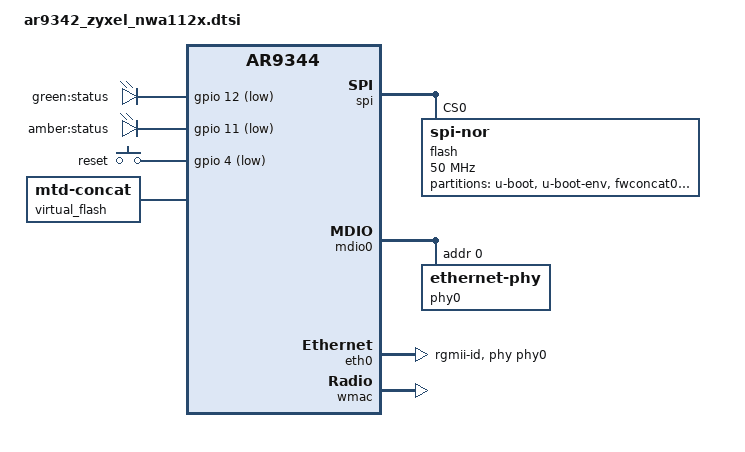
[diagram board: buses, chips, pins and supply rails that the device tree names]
// SPDX-License-Identifier: GPL-2.0-or-later OR MIT

#include "ar9344.dtsi"

#include <dt-bindings/gpio/gpio.h>
#include <dt-bindings/input/input.h>
#include <dt-bindings/mtd/partitions/uimage.h>

/ {
	aliases {
		label-mac-device = &eth0;
		led-boot = &led_status_green;
		led-failsafe = &led_status_amber;
		led-running = &led_status_green;
		led-upgrade = &led_status_amber;
	};

	leds {
		compatible = "gpio-leds";

		led_status_green: status_green {
			label = "green:status";
			gpios = <&gpio 12 GPIO_ACTIVE_LOW>;
			default-state = "on";
		};

		led_status_amber: status_amber {
			label = "amber:status";
			gpios = <&gpio 11 GPIO_ACTIVE_LOW>;
		};
	};

	keys {
		compatible = "gpio-keys";

		reset {
			label = "reset";
			linux,code = <KEY_RESTART>;
			gpios = <&gpio 4 GPIO_ACTIVE_LOW>;
		};
	};

	virtual_flash {
		compatible = "mtd-concat";

		devices = <&fwconcat0 &fwconcat1>;

		partitions {
			compatible = "fixed-partitions";
			#address-cells = <1>;
			#size-cells = <1>;

			partition@0 {
				compatible = "openwrt,uimage", "denx,uimage";
				openwrt,ih-magic = <IH_MAGIC_OKLI>;
				label = "firmware";
				reg = <0x0 0x0>;
			};
		};
	};
};

&ref {
	clock-frequency = <40000000>;
};

&spi {
	status = "okay";

	flash@0 {
		compatible = "jedec,spi-nor";
		reg = <0>;
		spi-max-frequency = <50000000>;

		partitions {
			compatible = "fixed-partitions";
			#address-cells = <1>;
			#size-cells = <1>;

			partition@0 {
				label = "u-boot";
				reg = <0x000000 0x040000>;
				read-only;
			};

			partition@40000 {
				label = "u-boot-env";
				reg = <0x040000 0x010000>;
			};

			fwconcat0: partition@50000 {
				label = "fwconcat0";
				reg = <0x050000 0x800000>;
			};

			partition@850000 {
				label = "loader";
				reg = <0x850000 0x010000>;
				read-only;
			};

			fwconcat1: partition@860000 {
				label = "fwconcat1";
				reg = <0x860000 0x740000>;
			};

			partition@fa0000 {
				label = "config";
				reg = <0xfa0000 0x040000>;
				read-only;
			};

			partition@fe0000 {
				label = "mib0";
				reg = <0xfe0000 0x010000>;
				read-only;
			};

			art: partition@ff0000 {
				label = "art";
				reg = <0xff0000 0x010000>;
				read-only;
			};
		};
	};
};

&mdio0 {
	status = "okay";

	phy-mask = <0>;

	phy0: ethernet-phy@0 {
		reg = <0>;
		phy-mode = "rgmii";
	};
};

&eth0 {
	status = "okay";

	pll-data = <0x06000000 0x00000101 0x00001313>;

	mtd-mac-address = <&art 0x1002>;

	phy-mode = "rgmii-id";
	phy-handle = <&phy0>;

	gmac-config {
		device = <&gmac>;
		rxdv-delay = <3>;
		rxd-delay = <3>;
		txen-delay = <3>;
		txd-delay = <3>;
		rgmii-gmac0 = <1>;
	};
};

&wmac {
	status = "okay";

	qca,disable-5ghz;
	mtd-cal-data = <&art 0x1000>;
};
